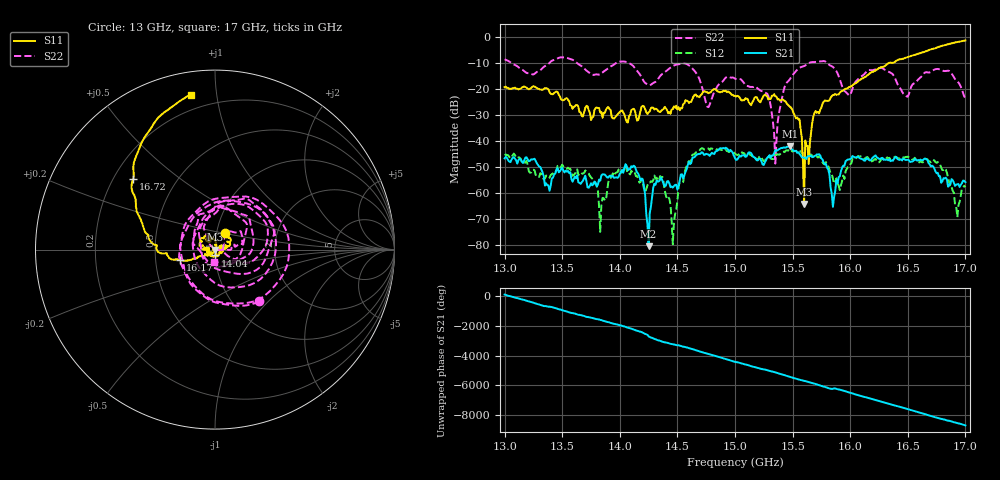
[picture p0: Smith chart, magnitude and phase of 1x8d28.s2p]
!Keysight Technologies,P9374A,MY57211807,A.19.30.04
!Date: Friday, May 08, 2026 15:19:14
!Correction: S11(C  2-Port  )
!S21(C  2-Port  )
!S12(C  2-Port  )
!S22(C  2-Port  )
!S2P File: Measurements: S11, S21, S12, S22:
# Hz S  dB  R 50
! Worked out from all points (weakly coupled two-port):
!   401 points, 13 GHz to 17 GHz, reference 50 ohm
!   highest |S21| = -41.90 dB at 15.48 GHz (marker M1); lowest = -80.3 dB at 14.25 GHz (marker M2)
!   lowest |S11| = -64.0 dB at 15.6 GHz (marker M3), VSWR 1.00, Z = 49.9 - j0.0303 ohm
!   |S11| at or under -10 dB: start of sweep to 16.33 GHz
!   |S22| runs from -48.5 to -7.7 dB; largest |S21 - S12| = 0.0021
!   S11 on the Smith chart (normalised r, x): 13 GHz: 1.10, +0.21; 14.04 GHz: 1.00, -0.07; 16.17 GHz: 0.67, -0.08; 16.72 GHz: 0.28, +0.35; 17 GHz: 0.12, +0.85
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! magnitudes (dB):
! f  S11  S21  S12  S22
! 13 GHz  -19.1  -46.5  -45.3  -8.4
! 13.67 GHz  -30.2  -55.7  -52.4  -11.1
! 13.84 GHz  -28.7  -53.1  -64.6  -13.8
! 14.04 GHz  -29.7  -50.1  -49.7  -9.3
! 14.18 GHz  -28.1  -55.0  -55.5  -14.6
! 14.25 GHz  -28.8  -80.3  -55.7  -18.4
! 14.34 GHz  -28.5  -55.3  -54.8  -15.5
! 14.47 GHz  -26.5  -57.1  -71.0  -10.8
! 14.65 GHz  -22.1  -46.0  -44.9  -13.0
! 14.77 GHz  -21.5  -45.1  -42.7  -26.8
! 15 GHz  -22.4  -46.4  -44.7  -15.8
! 15.27 GHz  -22.4  -47.2  -46.3  -21.4
! 15.35 GHz  -22.6  -43.3  -45.1  -48.5
! 15.48 GHz  -26.7  -41.9  -42.9  -15.8
! 15.6 GHz  -64.0  -46.1  -44.6  -11.0
! 15.67 GHz  -32.9  -46.1  -45.4  -9.5
! 15.85 GHz  -22.2  -65.1  -54.3  -11.3
! 16.17 GHz  -13.8  -47.3  -47.4  -12.6
! 16.34 GHz  -9.7  -46.9  -46.3  -13.3
! 16.72 GHz  -4.4  -49.6  -47.2  -12.6
! 16.93 GHz  -1.8  -56.5  -69.1  -16.9
! 17 GHz  -1.2  -55.6  -57.6  -23.3
